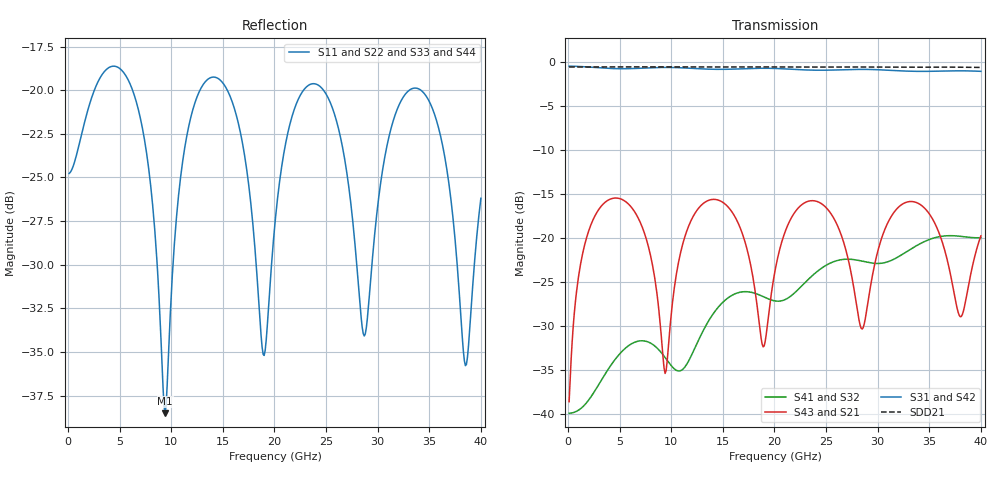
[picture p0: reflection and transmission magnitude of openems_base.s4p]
! thru_BV_ts_m2_per0_out: 2×thru In3.Cu, 8 mm, pair
! stackup: as the board case
! ports: 1 near, 2 near, 3 far, 4 far
! openEMS 0.37.0, staircase, base mesh (dfine 0.035 mm), 392448 cells
# Hz S RI R 50
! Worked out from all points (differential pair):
!   400 points, 100 MHz to 40 GHz, reference 50 ohm
!   strongest paths, dB at 100 MHz, 10.1 GHz, 20.1 GHz, 30.1 GHz, 40 GHz:
!     S31: -0.5, -0.7, -0.8, -0.9, -1.1
!     S42: -0.5, -0.7, -0.8, -0.9, -1.1
!     S43: -38.6, -27.5, -23.4, -21.1, -19.8
!     S21: -38.6, -27.5, -23.4, -21.1, -19.8
!     S41: -39.9, -34.6, -27.2, -22.9, -20.0
!     S32: -39.9, -34.6, -27.2, -22.9, -20.0
!   taken as a pair (ports 1,2 in; 3,4 out), SDD21 dB: -0.6, -0.6, -0.6, -0.6, -0.7
!   lowest |S11| = -38.5 dB at 9.4 GHz (marker M1), VSWR 1.02, Z = 51.2 + j0.242 ohm
!   |S11| at or under -10 dB: start of sweep to end of sweep
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1e8  -0.0574 0.00603  0.0103 0.00567  0.9417 -0.0331  0.01 -0.0012
     0.0103 0.00567  -0.0574 0.00603  0.01 -0.0012  0.9417 -0.0331
     0.9417 -0.0331  0.01 -0.0012  -0.0574 0.00603  0.0103 0.00567
     0.01 -0.0012  0.9417 -0.0331  0.0103 0.00567  -0.0574 0.00603
4.2e9  0.1013 0.0584  0.1656 0.0208  0.1178 -0.9062  -0.00536 0.0184
       0.1656 0.0208  0.1013 0.0584  -0.00536 0.0184  0.1178 -0.9062
       0.1178 -0.9062  -0.00536 0.0184  0.1013 0.0584  0.1656 0.0208
       -0.00536 0.0184  0.1178 -0.9062  0.1656 0.0208  0.1013 0.0584
9.4e9  0.0116 0.00236  0.017 -0.00147  -0.9255 0.0555  0.00504 -0.0204
       0.017 -0.00147  0.0116 0.00236  0.00504 -0.0204  -0.9255 0.0555
       -0.9255 0.0555  0.00504 -0.0204  0.0116 0.00236  0.017 -0.00147
       0.00504 -0.0204  -0.9255 0.0555  0.017 -0.00147  0.0116 0.00236
1.81e10  0.0276 -0.0222  0.0317 -0.04  0.9086 0.1129  -0.0221 0.0432
         0.0317 -0.04  0.0276 -0.0222  -0.0221 0.0432  0.9086 0.1129
         0.9086 0.1129  -0.0221 0.0432  0.0276 -0.0222  0.0317 -0.04
         -0.0221 0.0432  0.9086 0.1129  0.0317 -0.04  0.0276 -0.0222
2.35e10  0.1025 0.0176  0.1622 -0.00873  -0.1405 -0.8841  0.0538 0.0262
         0.1622 -0.00873  0.1025 0.0176  0.0538 0.0262  -0.1405 -0.8841
         -0.1405 -0.8841  0.0538 0.0262  0.1025 0.0176  0.1622 -0.00873
         0.0538 0.0262  -0.1405 -0.8841  0.1622 -0.00873  0.1025 0.0176
3.24e10  0.0892 0.032  0.1553 0.00864  0.0554 0.8836  -0.072 -0.0365
         0.1553 0.00864  0.0892 0.032  -0.072 -0.0365  0.0554 0.8836
         0.0554 0.8836  -0.072 -0.0365  0.0892 0.032  0.1553 0.00864
         -0.072 -0.0365  0.0554 0.8836  0.1553 0.00864  0.0892 0.032
4e10  0.034 0.0353  0.094 0.0414  0.3988 -0.7854  0.0626 0.0784
      0.094 0.0414  0.034 0.0353  0.0626 0.0784  0.3988 -0.7854
      0.3988 -0.7854  0.0626 0.0784  0.034 0.0353  0.094 0.0414
      0.0626 0.0784  0.3988 -0.7854  0.094 0.0414  0.034 0.0353
